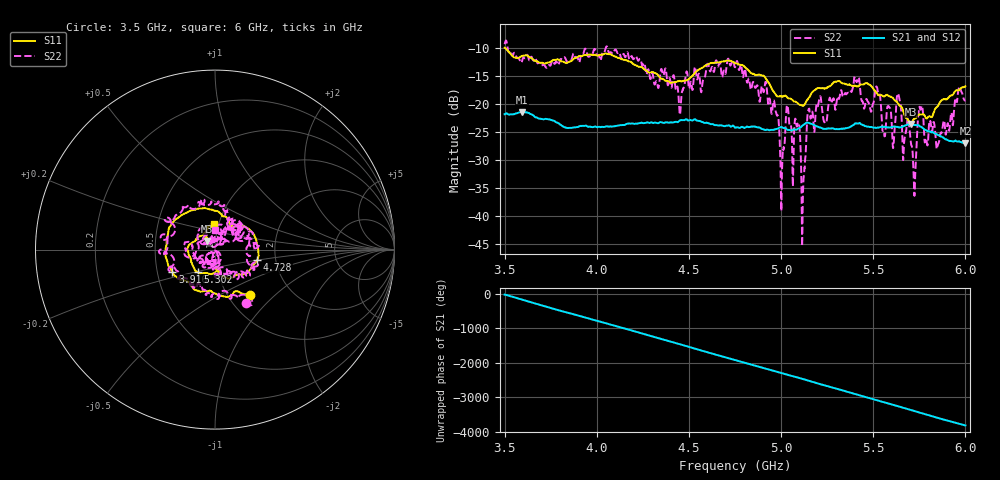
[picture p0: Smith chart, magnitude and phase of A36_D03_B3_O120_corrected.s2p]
! Created with skrf 1.9.0 (http://scikit-rf.org).
# Hz S RI R 50.0
!freq ReS11 ImS11 ReS21 ImS21 ReS12 ImS12 ReS22 ImS22
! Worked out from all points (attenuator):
!   1601 points, 3.5 GHz to 6 GHz, reference 50 ohm
!   highest |S21| = -21.42 dB at 3.592 GHz (marker M1); lowest = -27.0 dB at 6 GHz (marker M2)
!   lowest |S11| = -23.6 dB at 5.703 GHz (marker M3), VSWR 1.14, Z = 45.5 + j4.41 ohm
!   |S11| at or under -10 dB: 3.504 GHz to end of sweep
!   |S22| runs from -45.4 to -8.6 dB; largest |S21 - S12| = 0.00095
!   S11 on the Smith chart (normalised r, x): 3.5 GHz: 1.26, -0.71; 3.916 GHz: 0.60, -0.16; 4.728 GHz: 1.60, -0.20; 5.302 GHz: 0.80, -0.21; 6 GHz: 0.95, +0.28
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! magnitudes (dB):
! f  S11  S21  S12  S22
! 3.5 GHz  -9.9  -21.8  -21.8  -9.3
! 3.592 GHz  -11.4  -21.4  -21.4  -12.5
! 3.916 GHz  -11.4  -23.9  -23.9  -11.1
! 3.917 GHz  -11.4  -23.9  -23.9  -11.0
! 4.334 GHz  -14.9  -23.4  -23.3  -17.1
! 4.728 GHz  -12.3  -24.0  -23.9  -12.9
! 4.75 GHz  -12.7  -24.2  -24.1  -13.4
! 4.969 GHz  -18.2  -24.5  -24.5  -20.9
! 5.006 GHz  -18.7  -24.2  -24.1  -30.5
! 5.034 GHz  -18.8  -24.6  -24.5  -20.2
! 5.088 GHz  -19.8  -24.5  -24.5  -23.8
! 5.12 GHz  -20.3  -23.7  -23.7  -34.6
! 5.145 GHz  -19.1  -23.3  -23.3  -21.4
! 5.167 GHz  -17.9  -23.6  -23.5  -21.4
! 5.302 GHz  -16.0  -24.5  -24.4  -19.5
! 5.409 GHz  -16.8  -23.5  -23.4  -16.0
! 5.584 GHz  -18.6  -24.2  -24.2  -20.4
! 5.703 GHz  -23.6  -23.7  -23.7  -26.6
! 5.723 GHz  -22.6  -23.7  -23.7  -36.4
! 5.756 GHz  -21.9  -24.0  -24.0  -21.0
! 5.85 GHz  -20.3  -25.5  -25.4  -27.3
! 6 GHz  -16.8  -27.0  -26.9  -19.3
